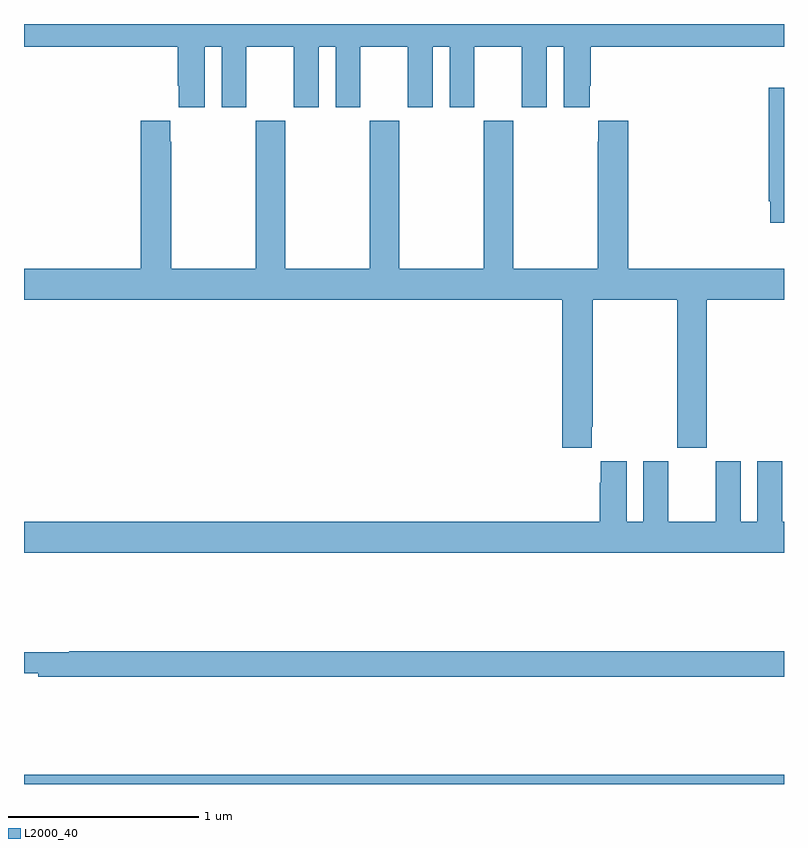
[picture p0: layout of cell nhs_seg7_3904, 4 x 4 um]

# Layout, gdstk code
import gdstk
lib = gdstk.Library(unit=1e-6, precision=1e-09)
def R(c, l, rs):  # rectangles x0, y0, x1, y1
    for r in rs: c.add(gdstk.rectangle(r[:2], r[2:], *l))
def P(c, l, *ps):  # polygons
    for p in ps: c.add(gdstk.Polygon(p, *l))
L2000_40 = (2000, 40)

nhs_seg7_3904 = lib.new_cell('nhs_seg7_3904')
R(nhs_seg7_3904, L2000_40, [(357,1066,361,1066.048)])
P(nhs_seg7_3904, L2000_40, [(357.952,1069.88),(358.04,1069.88),(358.04,1069.563),(358.171,1069.563),(358.171,1069.88),(358.421,1069.88),(358.421,1069.563),(358.552,1069.563),(358.552,1069.88),(358.64,1069.88),(358.64,1069.563),(358.771,1069.563),(358.771,1069.88),(359.021,1069.88),(359.021,1069.563),(359.152,1069.563),(359.152,1069.88),(359.24,1069.88),(359.24,1069.563),(359.371,1069.563),(359.371,1069.88),(359.621,1069.88),(359.621,1069.563),(359.752,1069.563),(359.752,1069.88),(359.84,1069.88),(359.84,1069.563),(359.977,1069.563),(359.977,1069.675),(359.984,1069.675),(359.984,1069.88),(361,1069.88),(361,1070),(357,1070),(357,1069.88),(357.809,1069.88),(357.809,1069.675),(357.815,1069.675),(357.815,1069.563),(357.952,1069.563)],
  [(361,1069.664),(360.919,1069.664),(360.919,1069.066),(360.927,1069.066),(360.927,1068.954),(361,1068.954)],
  [(359.989,1067.881),(359.994,1067.881),(359.994,1068.548),(360.439,1068.548),(360.439,1067.769),(360.594,1067.769),(360.594,1068.548),(361,1068.548),(361,1068.712),(360.179,1068.712),(360.179,1069.492),(360.023,1069.492),(360.023,1069.379),(360.019,1069.379),(360.019,1068.712),(359.574,1068.712),(359.574,1069.492),(359.419,1069.492),(359.419,1068.712),(358.974,1068.712),(358.974,1069.492),(358.819,1069.492),(358.819,1068.712),(358.374,1068.712),(358.374,1069.492),(358.219,1069.492),(358.219,1068.712),(357.774,1068.712),(357.774,1069.379),(357.769,1069.379),(357.769,1069.492),(357.614,1069.492),(357.614,1068.712),(357,1068.712),(357,1068.548),(359.834,1068.548),(359.834,1067.769),(359.989,1067.769)],
  [(361,1067.38),(360.991,1067.38),(360.991,1067.698),(360.86,1067.698),(360.86,1067.38),(360.772,1067.38),(360.772,1067.698),(360.641,1067.698),(360.641,1067.38),(360.391,1067.38),(360.391,1067.698),(360.26,1067.698),(360.26,1067.38),(360.172,1067.38),(360.172,1067.698),(360.035,1067.698),(360.035,1067.585),(360.029,1067.585),(360.029,1067.38),(357,1067.38),(357,1067.216),(361,1067.216)],
  [(361,1066.7),(357.238,1066.7),(357.238,1066.693),(357,1066.693),(357,1066.583),(357.076,1066.583),(357.076,1066.564),(361,1066.564)])

lib.write_gds('nhs_seg7_3904.gds')
